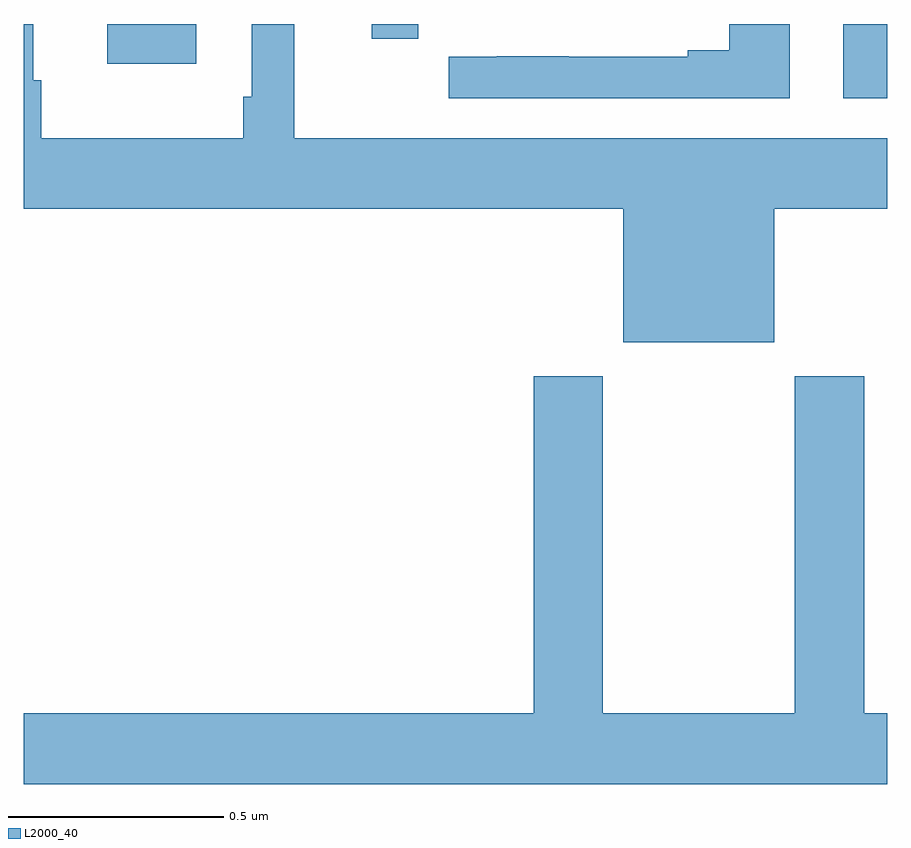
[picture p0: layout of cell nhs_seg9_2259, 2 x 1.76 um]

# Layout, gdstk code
import gdstk
lib = gdstk.Library(unit=1e-6, precision=1e-09)
def R(c, l, rs):  # rectangles x0, y0, x1, y1
    for r in rs: c.add(gdstk.rectangle(r[:2], r[2:], *l))
def P(c, l, *ps):  # polygons
    for p in ps: c.add(gdstk.Polygon(p, *l))
L2000_40 = (2000, 40)

nhs_seg9_2259 = lib.new_cell('nhs_seg9_2259')
R(nhs_seg9_2259, L2000_40, [(139.898,1211.328,140,1211.5), (138.194,1211.408,138.4,1211.5), (138.806,1211.466,138.914,1211.5)])
P(nhs_seg9_2259, L2000_40, [(139.738,1211.072),(140,1211.072),(140,1211.236),(138.626,1211.236),(138.626,1211.5),(138.528,1211.5),(138.528,1211.332),(138.508,1211.332),(138.508,1211.236),(138.041,1211.236),(138.041,1211.37),(138.022,1211.37),(138.022,1211.5),(138,1211.5),(138,1211.072),(139.388,1211.072),(139.388,1210.763),(139.738,1210.763)],
  [(139.774,1211.5),(139.634,1211.5),(139.634,1211.439),(139.538,1211.439),(139.538,1211.424),(139.262,1211.424),(139.262,1211.425),(139.096,1211.425),(139.096,1211.424),(138.984,1211.424),(138.984,1211.328),(139.774,1211.328)],
  [(140,1209.904),(139.946,1209.904),(139.946,1210.684),(139.786,1210.684),(139.786,1209.904),(139.341,1209.904),(139.341,1210.684),(139.181,1210.684),(139.181,1209.904),(138,1209.904),(138,1209.74),(140,1209.74)])

lib.write_gds('nhs_seg9_2259.gds')
